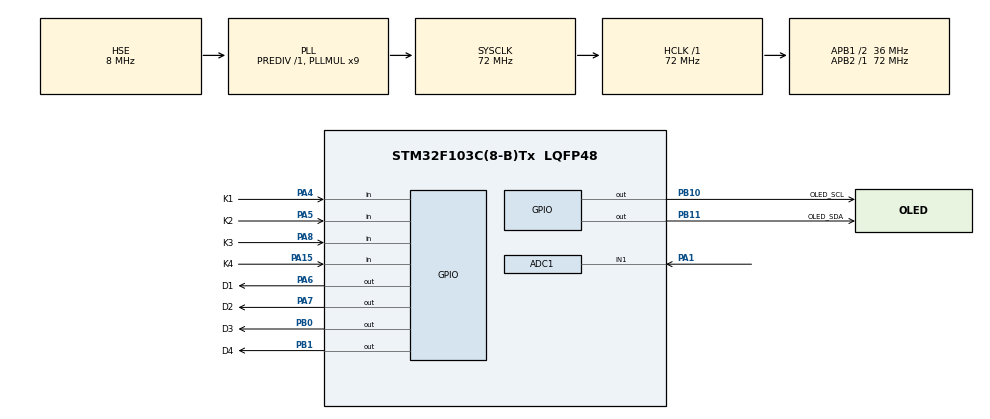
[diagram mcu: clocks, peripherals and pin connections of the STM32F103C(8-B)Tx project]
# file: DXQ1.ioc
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ADC1.Channel-0\#ChannelRegularConversion=ADC_CHANNEL_1
ADC1.ContinuousConvMode=ENABLE
ADC1.NbrOfConversionFlag=1
ADC1.Rank-0\#ChannelRegularConversion=1
ADC1.SamplingTime-0\#ChannelRegularConversion=ADC_SAMPLETIME_55CYCLES_5
ADC1.master=1
Dma.ADC1.0.Direction=DMA_PERIPH_TO_MEMORY
Dma.ADC1.0.Instance=DMA1_Channel1
Dma.ADC1.0.MemDataAlignment=DMA_MDATAALIGN_HALFWORD
Dma.ADC1.0.MemInc=DMA_MINC_ENABLE
Dma.ADC1.0.Mode=DMA_CIRCULAR
Dma.ADC1.0.PeriphDataAlignment=DMA_PDATAALIGN_HALFWORD
Dma.ADC1.0.PeriphInc=DMA_PINC_DISABLE
Dma.ADC1.0.Priority=DMA_PRIORITY_LOW
Dma.Request0=ADC1
FREERTOS.Tasks01=defaultTask,0,128,StartDefaultTask,Default,NULL,Dynamic,NULL,NULL;myTaskGUI,-3,128,StartTaskGUI,Default,NULL,Dynamic,NULL,NULL;myTaskKeyScan,-3,128,StartTaskKeyScan,Default,NULL,Dynamic,NULL,NULL
FREERTOS.configTOTAL_HEAP_SIZE=8192
Mcu.Family=STM32F1
Mcu.Name=STM32F103C(8-B)Tx
Mcu.Package=LQFP48
NVIC.DMA1_Channel1_IRQn=true\:5\:0\:false\:false\:true\:true\:false\:true
NVIC.PriorityGroup=NVIC_PRIORITYGROUP_4
NVIC.TIM4_IRQn=true\:0\:0\:false\:false\:true\:false\:false\:true
NVIC.TimeBase=TIM4_IRQn
NVIC.TimeBaseIP=TIM4
PA1.Signal=ADCx_IN1
PA13.Mode=Serial_Wire
PA13.Signal=SYS_JTMS-SWDIO
PA14.Mode=Serial_Wire
PA14.Signal=SYS_JTCK-SWCLK
PA15.GPIO_Label=K4
PA15.GPIO_PuPd=GPIO_PULLUP
PA15.Signal=GPIO_Input
PA4.GPIO_Label=K1
PA4.GPIO_PuPd=GPIO_PULLUP
PA4.Signal=GPIO_Input
PA5.GPIO_Label=K2
PA5.GPIO_PuPd=GPIO_PULLUP
PA5.Signal=GPIO_Input
PA6.GPIO_Label=D1
PA6.PinState=GPIO_PIN_SET
PA6.Signal=GPIO_Output
PA7.GPIO_Label=D2
PA7.PinState=GPIO_PIN_SET
PA7.Signal=GPIO_Output
PA8.GPIO_Label=K3
PA8.GPIO_PuPd=GPIO_PULLUP
PA8.Signal=GPIO_Input
PB0.GPIO_Label=D3
PB0.PinState=GPIO_PIN_SET
PB0.Signal=GPIO_Output
PB1.GPIO_Label=D4
PB1.PinState=GPIO_PIN_SET
PB1.Signal=GPIO_Output
PB10.GPIO_Label=OLED_SCL
PB10.GPIO_ModeDefaultOutputPP=GPIO_MODE_OUTPUT_OD
PB10.Signal=GPIO_Output
PB11.GPIO_Label=OLED_SDA
PB11.GPIO_ModeDefaultOutputPP=GPIO_MODE_OUTPUT_OD
PB11.Signal=GPIO_Output
PD0-OSC_IN.Mode=HSE-External-Oscillator
PD0-OSC_IN.Signal=RCC_OSC_IN
PD1-OSC_OUT.Mode=HSE-External-Oscillator
PD1-OSC_OUT.Signal=RCC_OSC_OUT
ProjectManager.HeapSize=0x200
ProjectManager.StackSize=0x400
ProjectManager.TargetToolchain=MDK-ARM V5
RCC.ADCPresc=RCC_ADCPCLK2_DIV6
RCC.AHBFreq_Value=72000000
RCC.APB1CLKDivider=RCC_HCLK_DIV2
RCC.APB1Freq_Value=36000000
RCC.APB1TimFreq_Value=72000000
RCC.APB2Freq_Value=72000000
RCC.APB2TimFreq_Value=72000000
RCC.HCLKFreq_Value=72000000
RCC.PLLMUL=RCC_PLL_MUL9
RCC.PLLSourceVirtual=RCC_PLLSOURCE_HSE
RCC.SYSCLKFreq_VALUE=72000000
RCC.SYSCLKSource=RCC_SYSCLKSOURCE_PLLCLK
RCC.USBFreq_Value=72000000
SH.ADCx_IN1.0=ADC1_IN1,IN1
VP_FREERTOS_VS_CMSIS_V1.Mode=CMSIS_V1
VP_SYS_VS_tim4.Mode=TIM4
board=custom

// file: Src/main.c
/* USER CODE BEGIN Header */
/**
  ******************************************************************************
  * @file           : main.c
  * @brief          : Main program body
  ******************************************************************************
  * @attention
  *
  * <h2><center>&copy; Copyright (c) 2020 STMicroelectronics.
  * All rights reserved.</center></h2>
  *
  * This software component is licensed by ST under BSD 3-Clause license,
  * the "License"; You may not use this file except in compliance with the
  * License. You may obtain a copy of the License at:
  *                        opensource.org/licenses/BSD-3-Clause
  *
  ******************************************************************************
  */
/* USER CODE END Header */

#include "main.h"
#include "cmsis_os.h"

/* USER CODE BEGIN Includes */
#include "GUI.h"
#include<stdio.h>
#include<stdlib.h>
#include<string.h>
/* USER CODE END Includes */

/* USER CODE BEGIN PD */
#define K1        HAL_GPIO_ReadPin(GPIOA,GPIO_PIN_4)  //K1按键PA4
#define K2        HAL_GPIO_ReadPin(GPIOA,GPIO_PIN_5)  //K2按键PA5
#define K3        HAL_GPIO_ReadPin(GPIOA,GPIO_PIN_8)  //K3按键PA8
#define K4        HAL_GPIO_ReadPin(GPIOA,GPIO_PIN_15)  //K2按键PA15
#define K1_PRES 1
#define K2_PRES 2
#define K3_PRES 0x04
#define K4_PRES 0x08

#define WS_MAIN 0
#define WS_TEST 1
#define WS_MPU 2
#define WS_PWM 3
#define WS_WIFI 4
/* USER CODE END PD */

ADC_HandleTypeDef hadc1;
DMA_HandleTypeDef hdma_adc1;

osThreadId defaultTaskHandle;
osThreadId myTaskGUIHandle;
osThreadId myTaskKeyScanHandle;
/* USER CODE BEGIN PV */
extern GUI_FLASH const GUI_FONT GUI_FontHZ_SimSun_16;
extern GUI_CONST_STORAGE GUI_BITMAP bmyc;

uint8_t g_ws =WS_MAIN;
uint8_t g_ws_next=WS_TEST;
uint16_t val[20];
uint16_t adval=0;
unsigned char key_up=1;     //按键松开标志
uint8_t g_key_cur=0;
/* USER CODE END PV */

void SystemClock_Config(void);
static void MX_GPIO_Init(void);
static void MX_DMA_Init(void);
static void MX_ADC1_Init(void);
void StartDefaultTask(void const * argument);
void StartTaskGUI(void const * argument);
void StartTaskKeyScan(void const * argument);

/* USER CODE BEGIN 0 */
void setLED(unsigned char val)
{
	HAL_GPIO_WritePin(D1_GPIO_Port,D1_Pin,(val&0x01)?GPIO_PIN_RESET:GPIO_PIN_SET);
	HAL_GPIO_WritePin(D2_GPIO_Port,D2_Pin,(val&0x02)?GPIO_PIN_RESET:GPIO_PIN_SET);
	HAL_GPIO_WritePin(D3_GPIO_Port,D3_Pin,(val&0x04)?GPIO_PIN_RESET:GPIO_PIN_SET);
	HAL_GPIO_WritePin(D4_GPIO_Port,D4_Pin,(val&0x08)?GPIO_PIN_RESET:GPIO_PIN_SET);
}
unsigned char KEY_Scan(unsigned char mode)
{

    if(mode==1)key_up=1;    //支持连按
    if(key_up&&(K1==0||K2==0||K3==0||K4==0))
    {
        HAL_Delay(10);
        key_up=0;
        if(K1==0)       return K1_PRES;
        else if(K2==0)  return K2_PRES;
        else if(K3==0) return K3_PRES;
				else if(K4==0) return K4_PRES;
    }else if(K1==1&&K2==1&&K3==1&&K4==1)key_up=1;
    return 0;   //无按键按下
}
void ShowMainGUI(void)
{
  GUI_Clear();
	GUI_DispStringHCenterAt("主菜单",64,0);
	if(g_ws_next>=WS_PWM)
	{
		if((HAL_GetTick()%1000)>500)
		{
			if(WS_MPU==g_ws_next)
        GUI_DispStringAt("*",0,16);
      if(g_ws_next==WS_PWM)
        GUI_DispStringAt("*",0,32);
      if(g_ws_next==WS_WIFI)
        GUI_DispStringAt("*",0,48);
		}

		GUI_DispStringAt("姿态解算",16,16);
		GUI_DispStringAt("呼吸灯",16,32);
		GUI_DispStringAt("WIFI通信",16,48);
	}
	else {
    	if((HAL_GetTick()%1000)>500)
		{
			if(WS_TEST==g_ws_next)
        GUI_DispStringAt("*",0,16);
      if(g_ws_next==WS_MPU)
        GUI_DispStringAt("*",0,32);
      if(g_ws_next==WS_PWM)
        GUI_DispStringAt("*",0,48);
		}
		GUI_DispStringAt("系统测试",16,16);
		GUI_DispStringAt("姿态解算",16,32);
		GUI_DispStringAt("呼吸灯",16,48);
	}
  GUI_Update();
}
void ShowTestGUI(void)
{
  GUI_Clear();
  GUI_DispStringHCenterAt("系统测试",64,0);
  GUI_SetFont(&GUI_Font8_ASCII);

  char buf[30];
  sprintf(buf,"AD:%d",adval);
  GUI_DispStringAt(buf,10,16);

  GUI_FillRect(50,16,50+(adval%1000)*70/1000,17);
  if(adval>=4000)
  GUI_FillRect(50,18,120,19);
   if(adval>=3000)
  GUI_FillRect(50,20,120,21);
   if(adval>=2000)
  GUI_FillRect(50,22,120,23);
   if(adval>=1000)
  GUI_FillRect(50,24,120,25);

  if(K1==0)
  {
    GUI_DispStringAt("■■",10,30);
    GUI_SetColor(GUI_COLOR_BLACK);
    GUI_DispStringAt("K1",10,30);
    GUI_SetColor(GUI_COLOR_WHITE);
  }
  else {
    GUI_DispStringAt("K1",10,30);
  }

  if(K2==0)
  {
    GUI_DispStringAt("■■",30,30);
    GUI_SetColor(GUI_COLOR_BLACK);
    GUI_DispStringAt("K2",30,30);
    GUI_SetColor(GUI_COLOR_WHITE);
  }
  else {
    GUI_DispStringAt("K2",30,30);
  }
  if(K3==0)
  {
    GUI_DispStringAt("■■",50,30);
    GUI_SetColor(GUI_COLOR_BLACK);
    GUI_DispStringAt("K3",50,30);
    GUI_SetColor(GUI_COLOR_WHITE);
  }
  else {
    GUI_DispStringAt("K3",50,30);
  }
  if(K4==0)
  {
    GUI_DispStringAt("■■",70,30);
    GUI_SetColor(GUI_COLOR_BLACK);
    GUI_DispStringAt("K4",70,30);
    GUI_SetColor(GUI_COLOR_WHITE);
  }
  else {
    GUI_DispStringAt("K4",70,30);
  }
  GUI_Update();
  GUI_SetFont(&GUI_FontHZ_SimSun_16);
}
void ShowMPUGUI(void)
{
  GUI_Clear();
  GUI_DispStringHCenterAt("姿态解算",64,0);
  GUI_Update();
}
void ShowPWMGUI(void)
{
  GUI_Clear();
  GUI_DispStringHCenterAt("呼吸灯",64,0);
  GUI_Update();
}
void ShowWiFiGUI(void)
{
  GUI_Clear();
  GUI_DispStringHCenterAt("WIFI通信",64,0);
  GUI_Update();
}

void HAL_ADC_ConvCpltCallback(ADC_HandleTypeDef* hadc)
{
  int i;
  uint16_t sum = 0; // 20 次采集数据累加和
  for (i = 0; i < 20; ++i)
  sum += val[i];
  adval = sum / 20;// 均值滤波
  }
/* USER CODE END 0 */

int main(void)
{
  /* USER CODE BEGIN 1 */
	unsigned char key;
  /* USER CODE END 1 */

  /* MCU Configuration--------------------------------------------------------*/

  /* Reset of all peripherals, Initializes the Flash interface and the Systick. */
  HAL_Init();

  /* Configure the system clock */
  SystemClock_Config();

  /* Initialize all configured peripherals */
  MX_GPIO_Init();
  MX_DMA_Init();
  MX_ADC1_Init();
  /* USER CODE BEGIN 2 */
	setLED(0);
	HAL_Delay(250);
	setLED(0x0f);
	HAL_Delay(250);

	setLED(0x00);
	HAL_Delay(250);
	setLED(0x0f);
	HAL_Delay(250);
	setLED(0x00);

	GUI_Init();
	GUI_SetFont(&GUI_FontHZ_SimSun_16);
	GUI_DispStringAt("专业设计实践II",0,0);
	GUI_DispStringAt("杨宇晨17041129",0,20);
	GUI_Update();
	GUI_Delay(1000);
	GUI_Clear();
	GUI_DrawBitmap(&bmyc,(128-bmyc.XSize)/2,(64-bmyc.YSize)/2);
	GUI_Update();

	while(K1==1&&K2==1&&K3==1&&K4==1);
	HAL_Delay(250);
	GUI_Clear();
	GUI_Update();
  HAL_ADCEx_Calibration_Start(&hadc1);
  HAL_ADC_Start_DMA(&hadc1, (uint32_t *)val, 20); // 启动 DMA 方式连续采集，每采 20 个数据触发中断
  /* USER CODE END 2 */

  /* Create the thread(s) */
  /* definition and creation of defaultTask */
  osThreadDef(defaultTask, StartDefaultTask, osPriorityNormal, 0, 128);
  defaultTaskHandle = osThreadCreate(osThread(defaultTask), NULL);

  /* definition and creation of myTaskGUI */
  osThreadDef(myTaskGUI, StartTaskGUI, osPriorityIdle, 0, 128);
  myTaskGUIHandle = osThreadCreate(osThread(myTaskGUI), NULL);

  /* definition and creation of myTaskKeyScan */
  osThreadDef(myTaskKeyScan, StartTaskKeyScan, osPriorityIdle, 0, 128);
  myTaskKeyScanHandle = osThreadCreate(osThread(myTaskKeyScan), NULL);

  /* Start scheduler */
  osKernelStart();

  /* We should never get here as control is now taken by the scheduler */

  /* Infinite loop */
  while (1)
  {
	}

}

void SystemClock_Config(void)
{
  RCC_OscInitTypeDef RCC_OscInitStruct = {0};
  RCC_ClkInitTypeDef RCC_ClkInitStruct = {0};
  RCC_PeriphCLKInitTypeDef PeriphClkInit = {0};

  /** Initializes the CPU, AHB and APB busses clocks
  */
  RCC_OscInitStruct.OscillatorType = RCC_OSCILLATORTYPE_HSE;
  RCC_OscInitStruct.HSEState = RCC_HSE_ON;
  RCC_OscInitStruct.HSEPredivValue = RCC_HSE_PREDIV_DIV1;
  RCC_OscInitStruct.HSIState = RCC_HSI_ON;
  RCC_OscInitStruct.PLL.PLLState = RCC_PLL_ON;
  RCC_OscInitStruct.PLL.PLLSource = RCC_PLLSOURCE_HSE;
  RCC_OscInitStruct.PLL.PLLMUL = RCC_PLL_MUL9;
  if (HAL_RCC_OscConfig(&RCC_OscInitStruct) != HAL_OK)
  {
    Error_Handler();
  }
  /** Initializes the CPU, AHB and APB busses clocks
  */
  RCC_ClkInitStruct.ClockType = RCC_CLOCKTYPE_HCLK|RCC_CLOCKTYPE_SYSCLK
                              |RCC_CLOCKTYPE_PCLK1|RCC_CLOCKTYPE_PCLK2;
  RCC_ClkInitStruct.SYSCLKSource = RCC_SYSCLKSOURCE_PLLCLK;
  RCC_ClkInitStruct.AHBCLKDivider = RCC_SYSCLK_DIV1;
  RCC_ClkInitStruct.APB1CLKDivider = RCC_HCLK_DIV2;
  RCC_ClkInitStruct.APB2CLKDivider = RCC_HCLK_DIV1;

  if (HAL_RCC_ClockConfig(&RCC_ClkInitStruct, FLASH_LATENCY_2) != HAL_OK)
  {
    Error_Handler();
  }
  PeriphClkInit.PeriphClockSelection = RCC_PERIPHCLK_ADC;
  PeriphClkInit.AdcClockSelection = RCC_ADCPCLK2_DIV6;
  if (HAL_RCCEx_PeriphCLKConfig(&PeriphClkInit) != HAL_OK)
  {
    Error_Handler();
  }
}

static void MX_ADC1_Init(void)
{

  ADC_ChannelConfTypeDef sConfig = {0};

  /** Common config
  */
  hadc1.Instance = ADC1;
  hadc1.Init.ScanConvMode = ADC_SCAN_DISABLE;
  hadc1.Init.ContinuousConvMode = ENABLE;
  hadc1.Init.DiscontinuousConvMode = DISABLE;
  hadc1.Init.ExternalTrigConv = ADC_SOFTWARE_START;
  hadc1.Init.DataAlign = ADC_DATAALIGN_RIGHT;
  hadc1.Init.NbrOfConversion = 1;
  if (HAL_ADC_Init(&hadc1) != HAL_OK)
  {
    Error_Handler();
  }
  /** Configure Regular Channel
  */
  sConfig.Channel = ADC_CHANNEL_1;
  sConfig.Rank = ADC_REGULAR_RANK_1;
  sConfig.SamplingTime = ADC_SAMPLETIME_55CYCLES_5;
  if (HAL_ADC_ConfigChannel(&hadc1, &sConfig) != HAL_OK)
  {
    Error_Handler();
  }

}

static void MX_DMA_Init(void)
{

  /* DMA controller clock enable */
  __HAL_RCC_DMA1_CLK_ENABLE();

  /* DMA interrupt init */
  /* DMA1_Channel1_IRQn interrupt configuration */
  HAL_NVIC_SetPriority(DMA1_Channel1_IRQn, 5, 0);
  HAL_NVIC_EnableIRQ(DMA1_Channel1_IRQn);

}

static void MX_GPIO_Init(void)
{
  GPIO_InitTypeDef GPIO_InitStruct = {0};

  /* GPIO Ports Clock Enable */
  __HAL_RCC_GPIOD_CLK_ENABLE();
  __HAL_RCC_GPIOA_CLK_ENABLE();
  __HAL_RCC_GPIOB_CLK_ENABLE();

  /*Configure GPIO pin Output Level */
  HAL_GPIO_WritePin(GPIOA, D1_Pin|D2_Pin, GPIO_PIN_SET);

  /*Configure GPIO pin Output Level */
  HAL_GPIO_WritePin(GPIOB, D3_Pin|D4_Pin, GPIO_PIN_SET);

  /*Configure GPIO pin Output Level */
  HAL_GPIO_WritePin(GPIOB, OLED_SCL_Pin|OLED_SDA_Pin, GPIO_PIN_RESET);

  /*Configure GPIO pins : K1_Pin K2_Pin K3_Pin K4_Pin */
  GPIO_InitStruct.Pin = K1_Pin|K2_Pin|K3_Pin|K4_Pin;
  GPIO_InitStruct.Mode = GPIO_MODE_INPUT;
  GPIO_InitStruct.Pull = GPIO_PULLUP;
  HAL_GPIO_Init(GPIOA, &GPIO_InitStruct);

  /*Configure GPIO pins : D1_Pin D2_Pin */
  GPIO_InitStruct.Pin = D1_Pin|D2_Pin;
  GPIO_InitStruct.Mode = GPIO_MODE_OUTPUT_PP;
  GPIO_InitStruct.Pull = GPIO_NOPULL;
  GPIO_InitStruct.Speed = GPIO_SPEED_FREQ_LOW;
  HAL_GPIO_Init(GPIOA, &GPIO_InitStruct);

  /*Configure GPIO pins : D3_Pin D4_Pin */
  GPIO_InitStruct.Pin = D3_Pin|D4_Pin;
  GPIO_InitStruct.Mode = GPIO_MODE_OUTPUT_PP;
  GPIO_InitStruct.Pull = GPIO_NOPULL;
  GPIO_InitStruct.Speed = GPIO_SPEED_FREQ_LOW;
  HAL_GPIO_Init(GPIOB, &GPIO_InitStruct);

  /*Configure GPIO pins : OLED_SCL_Pin OLED_SDA_Pin */
  GPIO_InitStruct.Pin = OLED_SCL_Pin|OLED_SDA_Pin;
  GPIO_InitStruct.Mode = GPIO_MODE_OUTPUT_OD;
  GPIO_InitStruct.Pull = GPIO_NOPULL;
  GPIO_InitStruct.Speed = GPIO_SPEED_FREQ_LOW;
  HAL_GPIO_Init(GPIOB, &GPIO_InitStruct);

}

void StartDefaultTask(void const * argument)
{

  /* USER CODE BEGIN 5 */
  uint8_t led_sta=0x01;
  uint32_t led_tick=HAL_GetTick();
  /* Infinite loop */
  for(;;)
  {

      setLED(led_sta);
  if(HAL_GetTick()>=led_tick+300)
  {
    led_tick=HAL_GetTick();
     led_sta<<=1;
  if(led_sta>0x08)
  led_sta=0x01;
  }

    osDelay(1);
  }
  /* USER CODE END 5 */
}

void StartTaskGUI(void const * argument)
{
  /* USER CODE BEGIN StartTaskGUI */
  /* Infinite loop */
  for(;;)
  {
    switch(g_ws)
		{
			default:
			case WS_MAIN:
      ShowMainGUI();
				break;
			case WS_TEST:
        ShowTestGUI();
				break;
			case WS_MPU:
        ShowMPUGUI();
				break;
			case WS_PWM:
        ShowPWMGUI();
				break;
			case WS_WIFI:
      ShowWiFiGUI();
				break;
		}
    osDelay(1);
  }
  /* USER CODE END StartTaskGUI */
}

void StartTaskKeyScan(void const * argument)
{
  /* USER CODE BEGIN StartTaskKeyScan */
  /* Infinite loop */
  for(;;)
  {
     g_key_cur=KEY_Scan(0);            //按键扫描
		if(g_key_cur==K4_PRES)
		{
			g_ws=WS_MAIN;
		}
    	switch(g_ws)
		{
			default:
			case WS_MAIN:

					switch(g_key_cur)
						{
						case K1_PRES:
							if(g_ws_next>WS_TEST)
								--g_ws_next;
							break;
						case K2_PRES:
							if(g_ws_next<WS_WIFI)
								++g_ws_next;
							break;
						case K3_PRES:
							g_ws=g_ws_next;
							break;
					;
						default:
							HAL_Delay(10);
								break;
						}

				break;
			case WS_TEST:

				break;
			case WS_MPU:

				break;
			case WS_PWM:

				break;
			case WS_WIFI:

				break;
		}
    osDelay(1);
  }
  /* USER CODE END StartTaskKeyScan */
}

void HAL_TIM_PeriodElapsedCallback(TIM_HandleTypeDef *htim)
{
  if (htim->Instance == TIM4) {
    HAL_IncTick();
  }
}

void Error_Handler(void)
{
}

/************************ (C) COPYRIGHT STMicroelectronics *****END OF FILE****/
